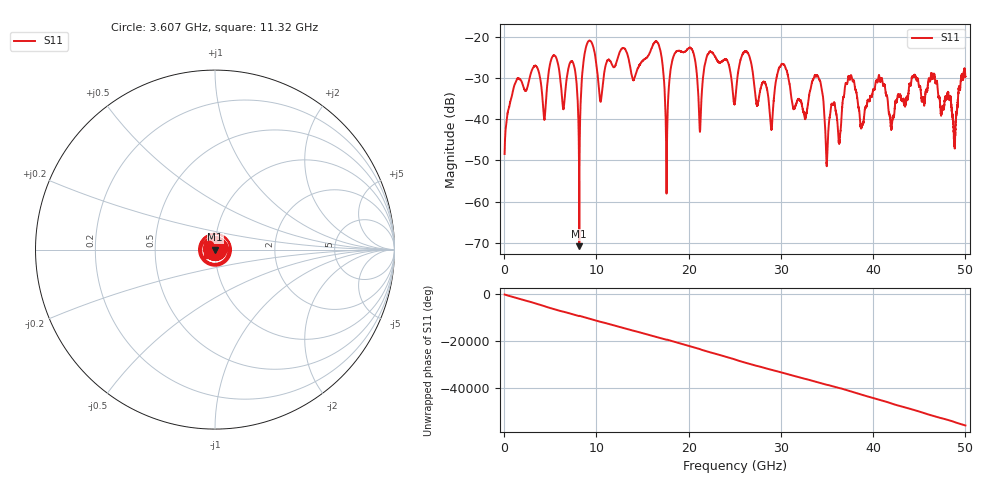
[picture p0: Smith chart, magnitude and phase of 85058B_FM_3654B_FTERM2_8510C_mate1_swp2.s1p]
!Created with skrf (http://scikit-rf.org).
# Hz S RI R 50.0
!freq ReS11 ImS11
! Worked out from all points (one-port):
!   10001 points, 45 MHz to 50 GHz, reference 50 ohm
!   lowest |S11| = -70.8 dB at 8.138 GHz (marker M1), VSWR 1.00, Z = 50 + j0.00508 ohm
!   |S11| at or under -10 dB: start of sweep to end of sweep
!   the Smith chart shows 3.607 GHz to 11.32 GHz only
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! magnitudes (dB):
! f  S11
! 45 MHz  -48.4
! 1.454 GHz  -30.1
! 4.361 GHz  -40.1
! 5.44 GHz  -24.5
! 6.289 GHz  -35.3
! 7.398 GHz  -26.0
! 8.138 GHz  -70.8
! 9.082 GHz  -21.2
! 10.46 GHz  -35.8
! 12.53 GHz  -23.6
! 16.61 GHz  -21.4
! 17.61 GHz  -54.5
! 18.78 GHz  -23.4
! 20.42 GHz  -23.4
! 21.22 GHz  -42.9
! 22.32 GHz  -23.6
! 25.02 GHz  -35.8
! 26.19 GHz  -23.5
! 28.92 GHz  -42.1
! 30.07 GHz  -26.6
! 31.27 GHz  -36.7
! 33.94 GHz  -29.4
! 35 GHz  -50.1
! 37.51 GHz  -30.1
! 38.78 GHz  -41.6
! 43.76 GHz  -35.0
! 48.81 GHz  -46.5
! 50 GHz  -29.6
